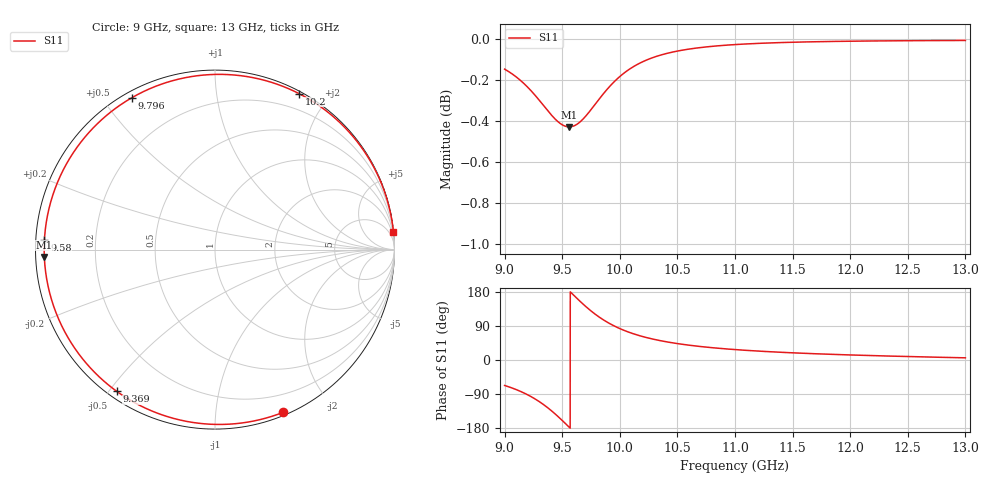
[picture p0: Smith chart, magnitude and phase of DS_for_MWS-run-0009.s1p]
! TOUCHSTONE file generated by CST DESIGN STUDIO
! Date and time: Tue Feb  4 13:33:50 2025
! Project name: C:\Work\MatlabApps\UnitCellOptimizationMatlab\CST\unitcell.cst
! Tree item: Tasks\Sweep1\SPara1\S-Parameters
! Header version: 2024
! Port assignment regex: !\s*Touchstone port\s*([0-9]+)\s*=\s*(CST MWS port|CST DES external port|CST DES block port)\s*(.+)\s* \(\"(.*)\"\)(\s*mode\s*([0-9]+))?.*
! Touchstone port assignment:
! Touchstone port 1 = CST DES external port 1 ("")
# GHz S MA R 50
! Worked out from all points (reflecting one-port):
!   4001 points, 9 GHz to 13 GHz, reference 50 ohm
!   lowest |S11| = -0.4 dB at 9.561 GHz (marker M1), VSWR 40.47, Z = 1.24 - j1.1 ohm
!   phase of S11 starts at -67 deg and turns -287 deg over the sweep
!   S11 on the Smith chart (normalised r, x): 9 GHz: 0.03, -1.50; 9.369 GHz: 0.03, -0.52; 9.58 GHz: 0.02, +0.03; 9.796 GHz: 0.02, +0.59; 10.2 GHz: 0.02, +1.67; 13 GHz: 0, +20
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9  0.983 -67.2
9.042  0.9814 -71.4
9.108  0.9784 -79.0
9.221  0.9718 -95.2
9.299  0.9662 -109.4
9.369  0.9608 -124.7
9.433  0.9563 -140.8
9.5  0.9529 -159.5
9.561  0.9518 -177.5
9.58  0.9519 176.8
9.635  0.9535 160.6
9.695  0.9569 143.7
9.745  0.9606 130.7
9.796  0.9647 118.7
9.84  0.9682 109.4
9.888  0.9719 100.3
9.94  0.9754 91.6
10  0.979 82.9
10.096  0.9835 71.5
10.2  0.9871 61.7
10.338  0.9905 51.9
10.5  0.993 43.3
10.721  0.9951 34.9
11  0.9966 27.5
11.5  0.9979 18.9
12  0.9985 13.3
12.5  0.9988 9.1
13  0.9989 5.7
